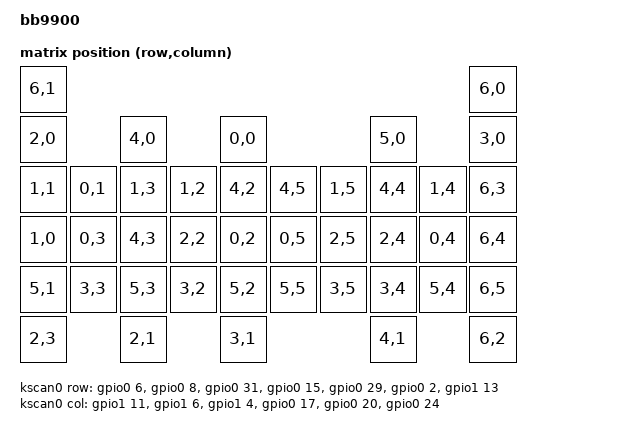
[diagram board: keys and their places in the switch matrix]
/*
 * Copyright (c) 2023 ZitaoTech
 *
 * SPDX-License-Identifier: MIT
 */

/dts-v1/;
#include <nordic/nrf52840_qiaa.dtsi>

#include <dt-bindings/led/led.h>
#include <dt-bindings/zmk/matrix_transform.h>
#include "bb9900-pinctrl.dtsi"
#include "bb9900-layouts.dtsi"


/ {
    model = "bb9900";
    compatible = "ZitaoTech,bb9900";

    chosen {
        zephyr,code-partition = &code_partition;
        zephyr,sram = &sram0;
        zephyr,flash = &flash0;
        zephyr,console = &cdc_acm_uart;
        zmk,battery = &vbatt;
        zmk,kscan = &kscan0;
        zmk,physical-layouts = &bb9900_layout;
        zmk,keyboard_backlight = &keyboard_backlight;
        zmk,layer_indicator = &layer_indicator;
        zmk,trackpad_led = &trackpad_led;
        zmk,backlight = &backlight;
        zmk,studio-rpc-uart = &cdc_acm_uart; // ✅      to enable ZMK Studio
    };

    keyboard_backlight: pwmledfo{
        compatible = "pwm-leds";
        pwm_led_0 {
            pwms = <&pwm3 0 PWM_USEC(20) PWM_POLARITY_NORMAL>;
        };
    };

    layer_indicator: pwmledto{
        compatible = "pwm-leds";
        pwm_led_0 {
            pwms = <&pwm2 0 PWM_USEC(20) PWM_POLARITY_NORMAL>;
        };
    };

    trackpad_led: pwmledo{
        compatible = "pwm-leds";
        pwm_led_0 {
            pwms = <&pwm1 0 PWM_USEC(20) PWM_POLARITY_NORMAL>;
        };
    };

    backlight: pwmleds {
        compatible = "pwm-leds";
        pwm_led_0 {
            pwms = <&pwm0 0 PWM_MSEC(10) PWM_POLARITY_NORMAL>;
        };
    };

    default_transform: keymap_transform_0 {
        compatible = "zmk,matrix-transform";
        columns = <6>;
        rows = <7>;
        map = <
RC(6,1)                                                                   RC(6,0)
RC(2,0)          RC(4,0)             RC(0,0)             RC(5,0)          RC(3,0)
RC(1,1)  RC(0,1) RC(1,3) RC(1,2) RC(4,2) RC(4,5) RC(1,5) RC(4,4) RC(1,4)  RC(6,3)
RC(1,0)  RC(0,3) RC(4,3) RC(2,2) RC(0,2) RC(0,5) RC(2,5) RC(2,4) RC(0,4)  RC(6,4)
RC(5,1)  RC(3,3) RC(5,3) RC(3,2) RC(5,2) RC(5,5) RC(3,5) RC(3,4) RC(5,4)  RC(6,5)
RC(2,3)          RC(2,1)             RC(3,1)             RC(4,1)          RC(6,2)
        >;
    };

    kscan0: kscan {
        compatible = "zmk,kscan-gpio-matrix";
        diode-direction = "col2row";
        row-gpios
            = <&gpio0 6 (GPIO_ACTIVE_HIGH | GPIO_PULL_DOWN)>
            , <&gpio0 8  (GPIO_ACTIVE_HIGH | GPIO_PULL_DOWN)>
            , <&gpio0 31 (GPIO_ACTIVE_HIGH | GPIO_PULL_DOWN)>
            , <&gpio0 15  (GPIO_ACTIVE_HIGH | GPIO_PULL_DOWN)>
            , <&gpio0 29  (GPIO_ACTIVE_HIGH | GPIO_PULL_DOWN)>
            , <&gpio0 2 (GPIO_ACTIVE_HIGH | GPIO_PULL_DOWN)>
            , <&gpio1 13 (GPIO_ACTIVE_HIGH | GPIO_PULL_DOWN)>
            ;
        col-gpios
            = <&gpio1 11  GPIO_ACTIVE_HIGH>
            , <&gpio1 6  GPIO_ACTIVE_HIGH>
            , <&gpio1 4  GPIO_ACTIVE_HIGH>
            , <&gpio0 17 GPIO_ACTIVE_HIGH>
            , <&gpio0 20 GPIO_ACTIVE_HIGH>
            , <&gpio0 24 GPIO_ACTIVE_HIGH>
            ;
    };

    leds {
        compatible = "gpio-leds";
        blue_led: led_0 {
            gpios = <&gpio0 10 GPIO_ACTIVE_HIGH>;
        };
    };

    // Node name must match original "EXT_POWER" label to preserve user settings.
    EXT_POWER {
        compatible = "zmk,ext-power-generic";
        control-gpios = <&gpio0 13 GPIO_ACTIVE_LOW>;
    };

    vbatt: vbatt {
        compatible = "zmk,battery-voltage-divider";
        io-channels = <&adc 2>;
        output-ohms = <2000000>;
        full-ohms = <2820000>;  // 2000000 + 820000
    };
};

&adc {
    status = "okay";
};

&gpiote {
    status = "okay";
};

&gpio0 {
    status = "okay";
};

&gpio1 {
    status = "okay";
};

&pwm0 {
    status = "okay";
    pinctrl-0 = <&pwm0_default>;
    pinctrl-1 = <&pwm0_sleep>;
    pinctrl-names = "default", "sleep";
};

&pwm1 {
    status = "okay";
    pinctrl-0 = <&pwm1_default>;
    pinctrl-1 = <&pwm1_sleep>;
    pinctrl-names = "default", "sleep";
};

&pwm2 {
    status = "okay";
    pinctrl-0 = <&pwm2_default>;
    pinctrl-1 = <&pwm2_sleep>;
    pinctrl-names = "default", "sleep";
};

&pwm3 {
    status = "okay";
    pinctrl-0 = <&pwm3_default>;
    pinctrl-1 = <&pwm3_sleep>;
    pinctrl-names = "default", "sleep";
};


&i2c0 {
    status = "okay";
    compatible = "nordic,nrf-twim";
    clock-frequency = <I2C_BITRATE_FAST>; 
    pinctrl-0 = <&i2c0_default>;
    pinctrl-1 = <&i2c0_sleep>;
    pinctrl-names = "default", "sleep";

    a320@3B {
        compatible = "avago,a320";
        reg = <0x3B>;
        status = "okay";
    };
};

&usbd {
    status = "okay";
    cdc_acm_uart: cdc_acm_uart {
        compatible = "zephyr,cdc-acm-uart";
    };
};

&bb9900_layout{
	transform = <&default_transform>;
	kscan = <&kscan0>;
}; 

zephyr_udc0: &usbd { 
    compatible = "nordic,nrf-usbd"; 
    status = "okay"; 
};

&flash0 {
    /*
     * For more information, see:
     * http://docs.zephyrproject.org/latest/devices/dts/flash_partitions.html
     */
    partitions {
        compatible = "fixed-partitions";
        #address-cells = <1>;
        #size-cells = <1>;

        sd_partition: partition@0 {
            reg = <0x00000000 0x00001000>;
        };

        code_partition: partition@1000 {
            reg = <0x00001000 0x000d3000>;
        };

        /*
         * The flash starting at 0x000d4000 and ending at
         * 0x000f3fff is reserved for use by the application.
         */

        /*
         * Storage partition will be used by FCB/LittleFS/NVS
         * if enabled.
         */
        storage_partition: partition@d4000 {
            reg = <0x000d4000 0x00020000>;
        };

        boot_partition: partition@f4000 {
            reg = <0x000f4000 0x0000c000>;
        };
    };
};
